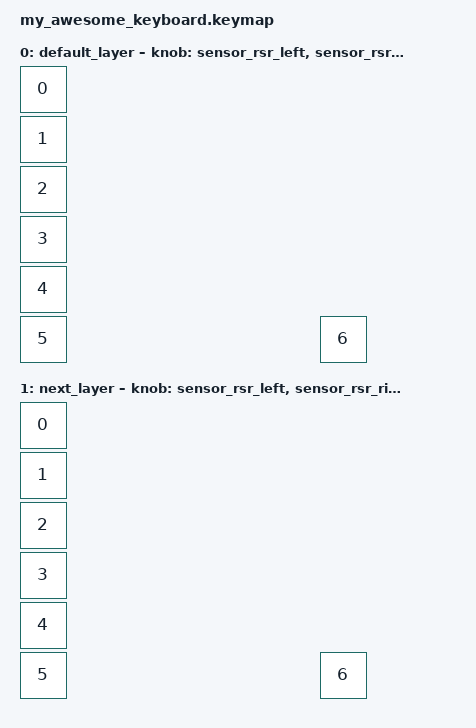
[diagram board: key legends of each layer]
/*
* Copyright (c) 2025 The ZMK Contributors
*
* SPDX-License-Identifier: MIT
*/

#include <behaviors.dtsi>
#include <dt-bindings/zmk/keys.h>

/ {
	keymap {
		compatible = "zmk,keymap";
		
		default_layer {
			bindings = <
			&kp N0
			&kp N1
			&kp N2
			&kp N3
			&kp N4
			&kp N5
			&kp N6
			>;
			sensor-bindings = <&sensor_rsr_left &sensor_rsr_right>;
		};
		
		next_layer {
			bindings = <
			&kp N0
			&kp N1
			&kp N2
			&kp N3
			&kp N4
			&kp N5
			&kp N6
			>;
			sensor-bindings = <&sensor_rsr_left &sensor_rsr_right>;
		};
	};
};
